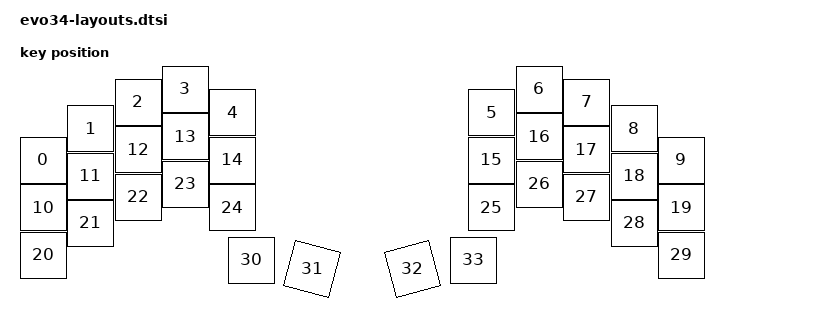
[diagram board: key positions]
#include <physical_layouts.dtsi>

/ {
    physical_layout_evo34: physical_layout_evo34 {
        compatible = "zmk,physical-layout";
        display-name = "Evo34";
        keys  //                     w   h    x    y     rot    rx    ry
            = <&key_physical_attrs 100 100    0  142       0     0     0>
            , <&key_physical_attrs 100 100   95   79       0     0     0>
            , <&key_physical_attrs 100 100  190   26       0     0     0>
            , <&key_physical_attrs 100 100  284    0       0     0     0>
            , <&key_physical_attrs 100 100  379   47       0     0     0>
            , <&key_physical_attrs 100 100  897   47       0     0     0>
            , <&key_physical_attrs 100 100  992    0       0     0     0>
            , <&key_physical_attrs 100 100 1087   26       0     0     0>
            , <&key_physical_attrs 100 100 1182   79       0     0     0>
            , <&key_physical_attrs 100 100 1276  142       0     0     0>
            , <&key_physical_attrs 100 100    0  237       0     0     0>
            , <&key_physical_attrs 100 100   95  174       0     0     0>
            , <&key_physical_attrs 100 100  190  121       0     0     0>
            , <&key_physical_attrs 100 100  284   95       0     0     0>
            , <&key_physical_attrs 100 100  379  142       0     0     0>
            , <&key_physical_attrs 100 100  897  142       0     0     0>
            , <&key_physical_attrs 100 100  992   95       0     0     0>
            , <&key_physical_attrs 100 100 1087  121       0     0     0>
            , <&key_physical_attrs 100 100 1182  174       0     0     0>
            , <&key_physical_attrs 100 100 1276  237       0     0     0>
            , <&key_physical_attrs 100 100    0  332       0     0     0>
            , <&key_physical_attrs 100 100   95  268       0     0     0>
            , <&key_physical_attrs 100 100  190  216       0     0     0>
            , <&key_physical_attrs 100 100  284  190       0     0     0>
            , <&key_physical_attrs 100 100  379  237       0     0     0>
            , <&key_physical_attrs 100 100  897  237       0     0     0>
            , <&key_physical_attrs 100 100  992  190       0     0     0>
            , <&key_physical_attrs 100 100 1087  216       0     0     0>
            , <&key_physical_attrs 100 100 1182  268       0     0     0>
            , <&key_physical_attrs 100 100 1276  332       0     0     0>
            , <&key_physical_attrs 100 100  416  342       0     0     0>
            , <&key_physical_attrs 100 100  538  360    1500   588   410>
            , <&key_physical_attrs 100 100  739  360 (-1500)   789   410>
            , <&key_physical_attrs 100 100  861  342       0     0     0>
            ;
    };
};
